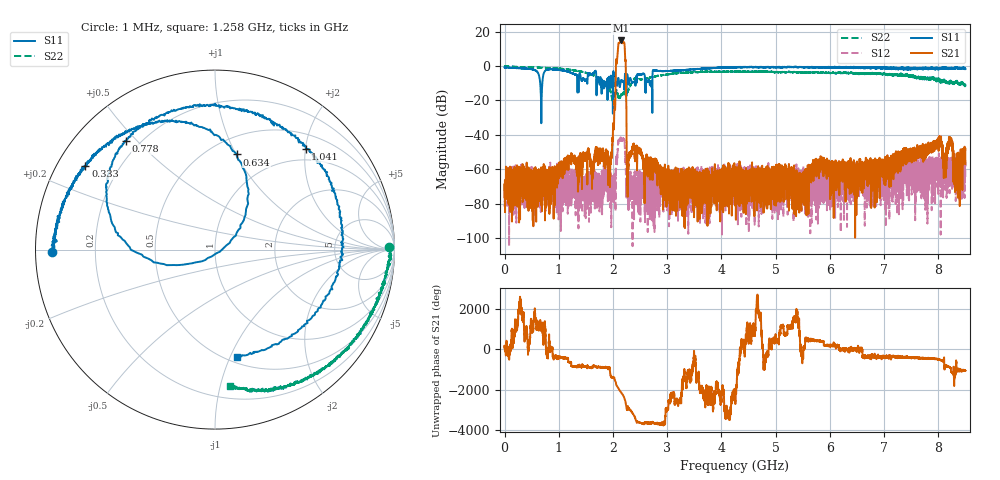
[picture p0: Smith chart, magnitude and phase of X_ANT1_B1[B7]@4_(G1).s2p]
#  HZ  S  RI  R  50.00
! Rohde & Schwarz Vector Network Analyzer
! Rohde-Schwarz,ZNBT8-20Port,1318700624101681,3.50
! Created: UTC 7/15/2025, 2:13:52 PM
! freq[Hz]  re:S1010  im:S1010  re:S0410  im:S0410  re:S1004  im:S1004  re:S44  im:S44
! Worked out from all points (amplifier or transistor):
!   8500 points, 1 MHz to 8.5 GHz, reference 50 ohm
!   highest |S21| = 14.9 dB at 2.144 GHz (marker M1)
!   |S21| within 3 dB of that: 2.095 GHz to 2.215 GHz (120.2 MHz wide, 5.58 % of centre)
!   unconditionally stable (mu >= 1): start of sweep to end of sweep
!   at 1.417 GHz: K = 742426.20, MAG = -53.4 dB, |S12| = -73.5 dB
!   at 4.251 GHz: K = 165188.66, MAG = -50.5 dB, |S12| = -71.3 dB
!   at 8.5 GHz: K = 197194.51, MAG = -51.8 dB, |S12| = -65.5 dB
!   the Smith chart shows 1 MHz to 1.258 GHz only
!   S11 on the Smith chart (normalised r, x): 1 MHz: 0.05, -0.01; 333 MHz: 0.08, +0.29; 634 MHz: 0.67, +1.01; 778 MHz: 0.15, +0.46; 1.041 GHz: 0.77, +2.01; 1.258 GHz: 0.56, -1.06
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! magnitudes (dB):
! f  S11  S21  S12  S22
! 1 MHz  -0.9  -76.5  -68.7  -0.2
! 333 MHz  -1.3  -57.0  -66.0  -0.5
! 634 MHz  -5.3  -66.6  -62.4  -0.8
! 778 MHz  -2.1  -69.1  -67.8  -1.1
! 1.041 GHz  -2.5  -62.5  -65.5  -1.5
! 1.258 GHz  -4.3  -55.3  -70.9  -2.3
! 1.418 GHz  -8.3  -56.2  -73.1  -3.3
! 1.947 GHz  -11.0  -63.6  -68.5  -14.0
! 2.089 GHz  -8.9  9.6  -47.5  -17.2
! 2.144 GHz  -8.8  14.9  -41.8  -17.1
! 2.205 GHz  -11.9  13.6  -42.9  -15.3
! 2.293 GHz  -10.0  -52.0  -72.0  -13.3
! 2.834 GHz  -2.8  -63.4  -74.4  -5.7
! 4.251 GHz  -0.6  -62.0  -71.3  -3.2
! 5.454 GHz  -0.5  -65.6  -64.7  -3.6
! 5.667 GHz  -0.4  -59.4  -67.9  -3.6
! 7.084 GHz  -1.0  -58.0  -82.9  -4.7
! 8.012 GHz  -1.7  -43.1  -56.1  -7.5
! 8.121 GHz  -1.3  -62.5  -59.3  -8.5
! 8.224 GHz  -1.2  -43.8  -67.6  -9.1
! 8.319 GHz  -1.2  -54.5  -59.8  -9.4
! 8.5 GHz  -1.7  -57.1  -65.5  -11.2
